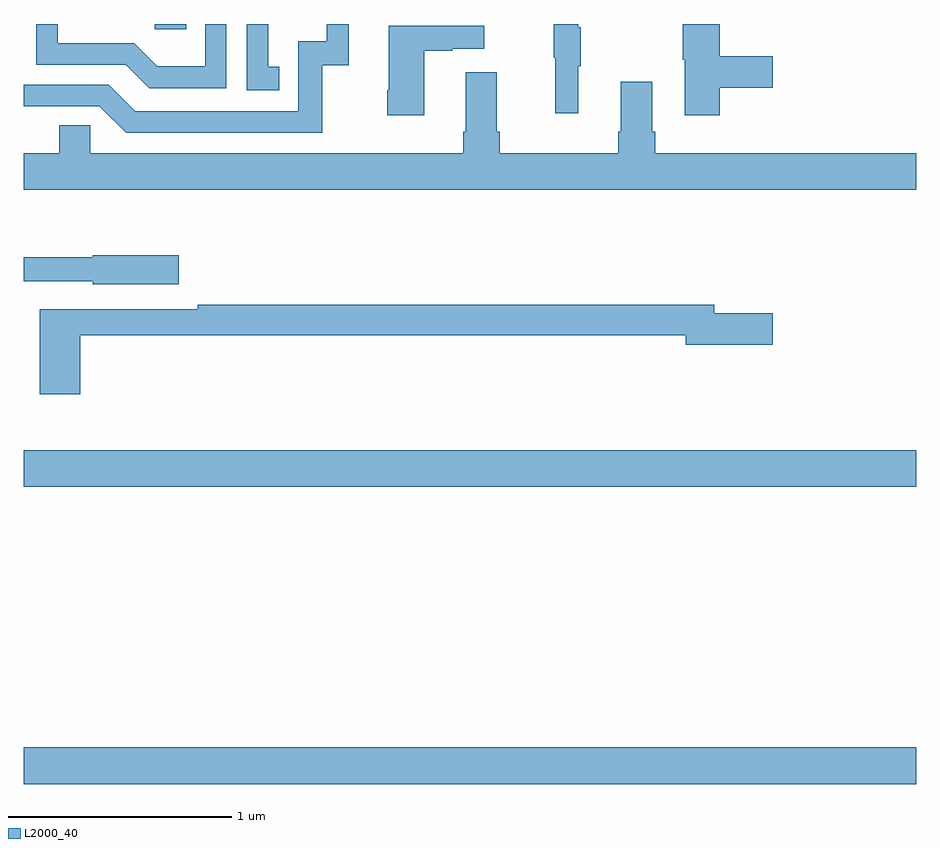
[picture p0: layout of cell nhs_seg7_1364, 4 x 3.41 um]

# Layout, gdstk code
import gdstk
lib = gdstk.Library(unit=1e-6, precision=1e-09)
def R(c, l, rs):  # rectangles x0, y0, x1, y1
    for r in rs: c.add(gdstk.rectangle(r[:2], r[2:], *l))
def P(c, l, *ps):  # polygons
    for p in ps: c.add(gdstk.Polygon(p, *l))
L2000_40 = (2000, 40)

nhs_seg7_1364 = lib.new_cell('nhs_seg7_1364')
R(nhs_seg7_1364, L2000_40, [(205,1024.592,209,1024.756), (205,1025.924,209,1026.088), (205.587,1027.977,205.727,1028)])
P(nhs_seg7_1364, L2000_40, [(206.144,1027.809),(206.095,1027.809),(206.095,1028),(205.998,1028),(205.998,1027.704),(206.144,1027.704)],
  [(207.485,1027.811),(207.496,1027.811),(207.496,1027.985),(207.485,1027.985),(207.485,1028),(207.375,1028),(207.375,1027.848),(207.382,1027.848),(207.382,1027.599),(207.485,1027.599)],
  [(205.908,1028),(205.812,1028),(205.812,1027.81),(205.598,1027.81),(205.494,1027.914),(205.152,1027.914),(205.152,1028),(205.054,1028),(205.054,1027.818),(205.457,1027.818),(205.562,1027.713),(205.908,1027.713)],
  [(208.121,1027.714),(208.357,1027.714),(208.357,1027.856),(208.121,1027.856),(208.121,1028),(207.955,1028),(207.955,1027.839),(207.962,1027.839),(207.962,1027.59),(208.121,1027.59)],
  [(206.338,1027.815),(206.456,1027.815),(206.456,1028),(206.358,1028),(206.358,1027.923),(206.229,1027.923),(206.229,1027.608),(205.5,1027.608),(205.38,1027.728),(205,1027.728),(205,1027.632),(205.338,1027.632),(205.458,1027.512),(206.338,1027.512)],
  [(206.794,1027.879),(206.921,1027.879),(206.921,1027.889),(207.064,1027.889),(207.064,1027.993),(206.636,1027.993),(206.636,1027.702),(206.629,1027.702),(206.629,1027.59),(206.794,1027.59)],
  [(209,1027.42),(207.83,1027.42),(207.83,1027.516),(207.817,1027.516),(207.817,1027.741),(207.677,1027.741),(207.677,1027.516),(207.665,1027.516),(207.665,1027.42),(207.134,1027.42),(207.134,1027.516),(207.121,1027.516),(207.121,1027.783),(206.981,1027.783),(206.981,1027.516),(206.969,1027.516),(206.969,1027.42),(205.296,1027.42),(205.296,1027.547),(205.157,1027.547),(205.157,1027.42),(205,1027.42),(205,1027.256),(209,1027.256)],
  [(205.693,1026.963),(205.308,1026.963),(205.308,1026.955),(205,1026.955),(205,1026.846),(205.308,1026.846),(205.308,1026.833),(205.693,1026.833)],
  [(205.253,1026.604),(207.968,1026.604),(207.968,1026.562),(208.357,1026.562),(208.357,1026.704),(208.096,1026.704),(208.096,1026.74),(205.78,1026.74),(205.78,1026.72),(205.07,1026.72),(205.07,1026.339),(205.253,1026.339)])

lib.write_gds('nhs_seg7_1364.gds')
